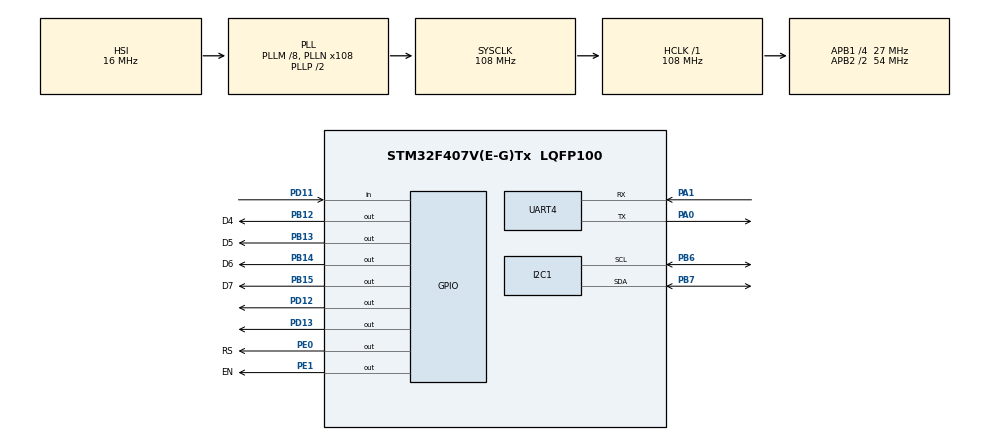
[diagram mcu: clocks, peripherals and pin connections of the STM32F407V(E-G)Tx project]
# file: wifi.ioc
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FREERTOS.BinarySemaphores01=myBinarySem01,Dynamic,NULL
FREERTOS.INCLUDE_vTaskDelayUntil=1
FREERTOS.Tasks01=temprature,1,128,temperature_task,Default,NULL,Dynamic,NULL,NULL;wifi,1,128,wifi_task,Default,NULL,Dynamic,NULL,NULL;oxygen,0,128,oxygen_task,Default,NULL,Dynamic,NULL,NULL
FREERTOS.configUSE_PREEMPTION=1
FREERTOS.configUSE_TIMERS=1
Mcu.Family=STM32F4
Mcu.Name=STM32F407V(E-G)Tx
Mcu.Package=LQFP100
NVIC.PriorityGroup=NVIC_PRIORITYGROUP_4
NVIC.TIM1_UP_TIM10_IRQn=true\:0\:0\:false\:false\:true\:false\:false\:true
NVIC.TimeBase=TIM1_UP_TIM10_IRQn
NVIC.TimeBaseIP=TIM1
NVIC.UART4_IRQn=true\:5\:0\:false\:false\:true\:true\:true\:true
PA0-WKUP.Mode=Asynchronous
PA0-WKUP.Signal=UART4_TX
PA1.Mode=Asynchronous
PA1.Signal=UART4_RX
PB12.GPIO_Label=D4
PB12.Signal=GPIO_Output
PB13.GPIO_Label=D5
PB13.Signal=GPIO_Output
PB14.GPIO_Label=D6
PB14.Signal=GPIO_Output
PB15.GPIO_Label=D7
PB15.Signal=GPIO_Output
PB6.Mode=I2C
PB6.Signal=I2C1_SCL
PB7.Mode=I2C
PB7.Signal=I2C1_SDA
PD11.Signal=GPIO_Input
PD12.Signal=GPIO_Output
PD13.Signal=GPIO_Output
PE0.GPIO_Label=RS
PE0.Signal=GPIO_Output
PE1.GPIO_Label=EN
PE1.Signal=GPIO_Output
PH0-OSC_IN.Mode=HSE-External-Oscillator
PH0-OSC_IN.Signal=RCC_OSC_IN
PH1-OSC_OUT.Mode=HSE-External-Oscillator
PH1-OSC_OUT.Signal=RCC_OSC_OUT
ProjectManager.HeapSize=0x200
ProjectManager.StackSize=0x400
ProjectManager.TargetToolchain=MDK-ARM V5.27
RCC.48MHZClocksFreq_Value=54000000
RCC.AHBFreq_Value=108000000
RCC.APB1CLKDivider=RCC_HCLK_DIV4
RCC.APB1Freq_Value=27000000
RCC.APB1TimFreq_Value=54000000
RCC.APB2CLKDivider=RCC_HCLK_DIV2
RCC.APB2Freq_Value=54000000
RCC.APB2TimFreq_Value=108000000
RCC.CortexFreq_Value=108000000
RCC.HCLKFreq_Value=108000000
RCC.HSE_VALUE=25000000
RCC.HSI_VALUE=16000000
RCC.LSE_VALUE=32768
RCC.PLLM=8
RCC.PLLN=108
RCC.SYSCLKFreq_VALUE=108000000
RCC.SYSCLKSource=RCC_SYSCLKSOURCE_PLLCLK
RCC.VCOOutputFreq_Value=216000000
UART4.VirtualMode=Asynchronous
VP_FREERTOS_VS_CMSIS_V1.Mode=CMSIS_V1
VP_SYS_VS_tim1.Mode=TIM1
board=custom

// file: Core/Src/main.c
/* USER CODE BEGIN Header */
/**
  ******************************************************************************
  * @file           : main.c
  * @brief          : Main program body
  ******************************************************************************
  * @attention
  *
  * <h2><center>&copy; Copyright (c) 2021 STMicroelectronics.
  * All rights reserved.</center></h2>
  *
  * This software component is licensed by ST under BSD 3-Clause license,
  * the "License"; You may not use this file except in compliance with the
  * License. You may obtain a copy of the License at:
  *                        opensource.org/licenses/BSD-3-Clause
  *
  ******************************************************************************
  */
/* USER CODE END Header */
#include "main.h"
#include "cmsis_os.h"
#include "UartRingbuffer.h"
#include "ESPDataLogger.h"
#include "STM_MY_LCD16X2.h"

I2C_HandleTypeDef hi2c1;

UART_HandleTypeDef huart4;

osThreadId tempratureHandle;
osThreadId wifiHandle;
osThreadId oxygenHandle;
osSemaphoreId myBinarySem01Handle;

void SystemClock_Config(void);
static void MX_GPIO_Init(void);
static void MX_I2C1_Init(void);
static void MX_UART4_Init(void);
void temperature_task(void const * argument);
void wifi_task(void const * argument);
void oxygen_task(void const * argument);

/* USER CODE BEGIN 0 */
uint16_t Body_temperature,Room_Temperature,HearRate=80,Oxygen=96;
float Object,Room;
uint8_t buff[3];
uint16_t dt;
float tempo;
float get_temp(uint8_t device_adr,uint8_t mem_adr);
float get_hert_oxy(uint8_t device_adr,uint8_t mem_adr);
int count=80;
int oxy=96;
int get_heart_oxy();
/* USER CODE END 0 */

int main(void)
{

  /* MCU Configuration--------------------------------------------------------*/

  /* Reset of all peripherals, Initializes the Flash interface and the Systick. */
  HAL_Init();

  /* Configure the system clock */
  SystemClock_Config();

  /* Initialize all configured peripherals */
  MX_GPIO_Init();
  MX_I2C1_Init();
  MX_UART4_Init();
  /* USER CODE BEGIN 2 */

	LCD1602_Begin4BIT(RS_GPIO_Port,RS_Pin,EN_Pin,D4_GPIO_Port,D4_Pin,D5_Pin,D6_Pin,D7_Pin);
	LCD1602_clear();
	HAL_Delay(1000);
	LCD1602_print("Think Positive...");
	LCD1602_2ndLine();
	LCD1602_print("To be Nagative...");
	HAL_Delay(5000);
	LCD1602_clear();
	LCD1602_1stLine();
	LCD1602_print("   Welcome  ");
	LCD1602_2ndLine();
	LCD1602_print("System Loading..");

	ESP_Init("vinayak","12345678");

	LCD1602_clear();
  /* USER CODE END 2 */

  /* Create the semaphores(s) */
  /* definition and creation of myBinarySem01 */
  osSemaphoreDef(myBinarySem01);
  myBinarySem01Handle = osSemaphoreCreate(osSemaphore(myBinarySem01), 1);

  /* Create the thread(s) */
  /* definition and creation of temprature */
  osThreadDef(temprature, temperature_task, osPriorityAboveNormal, 0, 128);
  tempratureHandle = osThreadCreate(osThread(temprature), NULL);

  /* definition and creation of wifi */
  osThreadDef(wifi, wifi_task, osPriorityAboveNormal, 0, 128);
  wifiHandle = osThreadCreate(osThread(wifi), NULL);

  /* definition and creation of oxygen */
  osThreadDef(oxygen, oxygen_task, osPriorityAboveNormal, 0, 128);
  oxygenHandle = osThreadCreate(osThread(oxygen), NULL);

  /* Start scheduler */
  osKernelStart();

  /* We should never get here as control is now taken by the scheduler */
  /* Infinite loop */
  while (1)
  {

  }
}

void SystemClock_Config(void)
{
  RCC_OscInitTypeDef RCC_OscInitStruct = {0};
  RCC_ClkInitTypeDef RCC_ClkInitStruct = {0};

  /** Configure the main internal regulator output voltage
  */
  __HAL_RCC_PWR_CLK_ENABLE();
  __HAL_PWR_VOLTAGESCALING_CONFIG(PWR_REGULATOR_VOLTAGE_SCALE1);
  /** Initializes the RCC Oscillators according to the specified parameters
  * in the RCC_OscInitTypeDef structure.
  */
  RCC_OscInitStruct.OscillatorType = RCC_OSCILLATORTYPE_HSI;
  RCC_OscInitStruct.HSIState = RCC_HSI_ON;
  RCC_OscInitStruct.HSICalibrationValue = RCC_HSICALIBRATION_DEFAULT;
  RCC_OscInitStruct.PLL.PLLState = RCC_PLL_ON;
  RCC_OscInitStruct.PLL.PLLSource = RCC_PLLSOURCE_HSI;
  RCC_OscInitStruct.PLL.PLLM = 8;
  RCC_OscInitStruct.PLL.PLLN = 108;
  RCC_OscInitStruct.PLL.PLLP = RCC_PLLP_DIV2;
  RCC_OscInitStruct.PLL.PLLQ = 4;
  if (HAL_RCC_OscConfig(&RCC_OscInitStruct) != HAL_OK)
  {
    Error_Handler();
  }
  /** Initializes the CPU, AHB and APB buses clocks
  */
  RCC_ClkInitStruct.ClockType = RCC_CLOCKTYPE_HCLK|RCC_CLOCKTYPE_SYSCLK
                              |RCC_CLOCKTYPE_PCLK1|RCC_CLOCKTYPE_PCLK2;
  RCC_ClkInitStruct.SYSCLKSource = RCC_SYSCLKSOURCE_PLLCLK;
  RCC_ClkInitStruct.AHBCLKDivider = RCC_SYSCLK_DIV1;
  RCC_ClkInitStruct.APB1CLKDivider = RCC_HCLK_DIV4;
  RCC_ClkInitStruct.APB2CLKDivider = RCC_HCLK_DIV2;

  if (HAL_RCC_ClockConfig(&RCC_ClkInitStruct, FLASH_LATENCY_3) != HAL_OK)
  {
    Error_Handler();
  }
}

static void MX_I2C1_Init(void)
{

  hi2c1.Instance = I2C1;
  hi2c1.Init.ClockSpeed = 100000;
  hi2c1.Init.DutyCycle = I2C_DUTYCYCLE_2;
  hi2c1.Init.OwnAddress1 = 0;
  hi2c1.Init.AddressingMode = I2C_ADDRESSINGMODE_7BIT;
  hi2c1.Init.DualAddressMode = I2C_DUALADDRESS_DISABLE;
  hi2c1.Init.OwnAddress2 = 0;
  hi2c1.Init.GeneralCallMode = I2C_GENERALCALL_DISABLE;
  hi2c1.Init.NoStretchMode = I2C_NOSTRETCH_DISABLE;
  if (HAL_I2C_Init(&hi2c1) != HAL_OK)
  {
    Error_Handler();
  }

}

static void MX_UART4_Init(void)
{

  huart4.Instance = UART4;
  huart4.Init.BaudRate = 115200;
  huart4.Init.WordLength = UART_WORDLENGTH_8B;
  huart4.Init.StopBits = UART_STOPBITS_1;
  huart4.Init.Parity = UART_PARITY_NONE;
  huart4.Init.Mode = UART_MODE_TX_RX;
  huart4.Init.HwFlowCtl = UART_HWCONTROL_NONE;
  huart4.Init.OverSampling = UART_OVERSAMPLING_16;
  if (HAL_UART_Init(&huart4) != HAL_OK)
  {
    Error_Handler();
  }

}

static void MX_GPIO_Init(void)
{
  GPIO_InitTypeDef GPIO_InitStruct = {0};

  /* GPIO Ports Clock Enable */
  __HAL_RCC_GPIOH_CLK_ENABLE();
  __HAL_RCC_GPIOA_CLK_ENABLE();
  __HAL_RCC_GPIOB_CLK_ENABLE();
  __HAL_RCC_GPIOD_CLK_ENABLE();
  __HAL_RCC_GPIOE_CLK_ENABLE();

  /*Configure GPIO pin Output Level */
  HAL_GPIO_WritePin(GPIOB, D4_Pin|D5_Pin|D6_Pin|D7_Pin, GPIO_PIN_RESET);

  /*Configure GPIO pin Output Level */
  HAL_GPIO_WritePin(GPIOD, GPIO_PIN_12|GPIO_PIN_13, GPIO_PIN_RESET);

  /*Configure GPIO pin Output Level */
  HAL_GPIO_WritePin(GPIOE, RS_Pin|EN_Pin, GPIO_PIN_RESET);

  /*Configure GPIO pins : D4_Pin D5_Pin D6_Pin D7_Pin */
  GPIO_InitStruct.Pin = D4_Pin|D5_Pin|D6_Pin|D7_Pin;
  GPIO_InitStruct.Mode = GPIO_MODE_OUTPUT_PP;
  GPIO_InitStruct.Pull = GPIO_NOPULL;
  GPIO_InitStruct.Speed = GPIO_SPEED_FREQ_LOW;
  HAL_GPIO_Init(GPIOB, &GPIO_InitStruct);

  /*Configure GPIO pin : PD11 */
  GPIO_InitStruct.Pin = GPIO_PIN_11;
  GPIO_InitStruct.Mode = GPIO_MODE_INPUT;
  GPIO_InitStruct.Pull = GPIO_NOPULL;
  HAL_GPIO_Init(GPIOD, &GPIO_InitStruct);

  /*Configure GPIO pins : PD12 PD13 */
  GPIO_InitStruct.Pin = GPIO_PIN_12|GPIO_PIN_13;
  GPIO_InitStruct.Mode = GPIO_MODE_OUTPUT_PP;
  GPIO_InitStruct.Pull = GPIO_NOPULL;
  GPIO_InitStruct.Speed = GPIO_SPEED_FREQ_LOW;
  HAL_GPIO_Init(GPIOD, &GPIO_InitStruct);

  /*Configure GPIO pins : RS_Pin EN_Pin */
  GPIO_InitStruct.Pin = RS_Pin|EN_Pin;
  GPIO_InitStruct.Mode = GPIO_MODE_OUTPUT_PP;
  GPIO_InitStruct.Pull = GPIO_NOPULL;
  GPIO_InitStruct.Speed = GPIO_SPEED_FREQ_LOW;
  HAL_GPIO_Init(GPIOE, &GPIO_InitStruct);

}

/* USER CODE BEGIN 4 */
float get_temp(uint8_t device_adr,uint8_t mem_adr)
{
	HAL_I2C_Mem_Read(&hi2c1, (0x5A<<1)|0x01, 0x07, 1, buff, 3, 100);
	dt = (buff[1] <<8 | buff[0]);
	tempo = dt*0.02 - 273.15;
	return tempo;
}

int get_heart_oxy()
{
	oxy = rand()%100;
}
float get_hert_oxy(uint8_t device_adr,uint8_t mem_adr)
{
HAL_I2C_Mem_Read(&hi2c1, (0xAF<<1)|0x01, 0x07, 1, buff, 3, 100);
uint8_t data = (buff[1] <<8 | buff[0]);
 oxy= dt*0.02 - 273.15;
return oxy;
}

/* USER CODE END 4 */

void temperature_task(void const * argument)
{
  /* USER CODE BEGIN 5 */
  /* Infinite loop */
  for(;;)
  {
		//aquire semaphore
		osSemaphoreWait(myBinarySem01Handle,osWaitForever);

		Object = get_temp(0x5A,0x07);
		Body_temperature=Object;

		//TO Turn ON buzzer if any critical situation happens
		if((Body_temperature<=24)||(Body_temperature <= 45))
		{
				HAL_GPIO_WritePin(GPIOD,GPIO_PIN_12,GPIO_PIN_SET);
		}
		else
		{
			HAL_GPIO_WritePin(GPIOD,GPIO_PIN_12,GPIO_PIN_RESET);
		}

		Room = get_temp(0x5A,0x06);
		Room_Temperature=Room;

		LCD1602_1stLine();
		LCD1602_print("BT : ");
		LCD1602_PrintInt(Body_temperature);
		LCD1602_print(" RT : ");

		//Send data over Thingspeak Cloud
		ESP_Send_Data("8VW58QJ1N3WI3921",1,Body_temperature);

		//Release semaphore
		osSemaphoreRelease(myBinarySem01Handle);

		vTaskDelay(4000);
  }
  /* USER CODE END 5 */
}

void wifi_task(void const * argument)
{
  /* USER CODE BEGIN wifi_task */
  /* Infinite loop */
  for(;;)
  {
		osSemaphoreWait(myBinarySem01Handle,osWaitForever);

		LCD1602_PrintInt(Room_Temperature);
		HAL_GPIO_TogglePin(GPIOD,GPIO_PIN_13);
		ESP_Send_Data("8VW58QJ1N3WI3921",2,Room_Temperature);

		osSemaphoreRelease(myBinarySem01Handle);

		osDelay(15000);
  }
  /* USER CODE END wifi_task */
}

void oxygen_task(void const * argument)
{
  /* USER CODE BEGIN oxygen_task */
  /* Infinite loop */
  for(;;)
  {
		osSemaphoreWait(myBinarySem01Handle,osWaitForever);

		oxy = get_heart_oxy(); // get the value from sensor

		if(oxy <= 90)
		{
				HAL_GPIO_WritePin(GPIOD,GPIO_PIN_12,GPIO_PIN_SET);
		}
		else
		{
				HAL_GPIO_WritePin(GPIOD,GPIO_PIN_12,GPIO_PIN_RESET);
		}

		LCD1602_2ndLine();
		LCD1602_print("HR : ");

		LCD1602_PrintInt(oxy);
		LCD1602_print(" OXY: ");
		LCD1602_PrintInt(count);
		count++;

		ESP_Send_Data("8VW58QJ1N3WI3921",4,oxy);
		ESP_Send_Data("8VW58QJ1N3WI3921",3,HearRate);

		osSemaphoreRelease(myBinarySem01Handle);

		osDelay(6000);
  }
  /* USER CODE END oxygen_task */
}

 /**
  * @brief  Period elapsed callback in non blocking mode
  * @note   This function is called  when TIM1 interrupt took place, inside
  * HAL_TIM_IRQHandler(). It makes a direct call to HAL_IncTick() to increment
  * a global variable "uwTick" used as application time base.
  * @param  htim : TIM handle
  * @retval None
  */
void HAL_TIM_PeriodElapsedCallback(TIM_HandleTypeDef *htim)
{
  if (htim->Instance == TIM1) {
    HAL_IncTick();
  }
}

void Error_Handler(void)
{
  __disable_irq();
  while (1)
  {
  }
}

/************************ (C) COPYRIGHT STMicroelectronics *****END OF FILE****/
